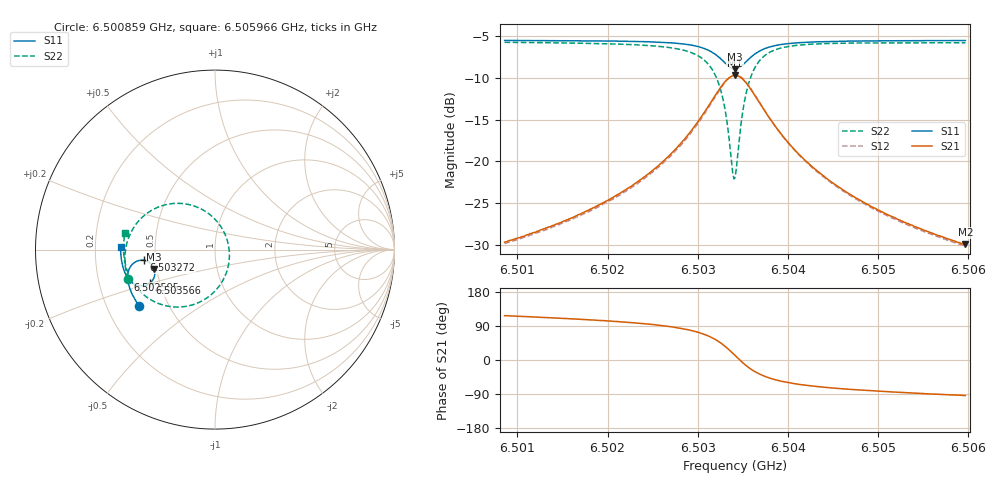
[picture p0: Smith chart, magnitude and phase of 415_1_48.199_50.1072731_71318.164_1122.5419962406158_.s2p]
#  HZ  S  RI  R  50.00
! Rohde & Schwarz Vector Network Analyzer
! Rohde-Schwarz,ZNB20-2Port,1311601062101988,3.16
! Created: UTC 3/20/2024, 11:54:41 AM
! freq[Hz]  re:S11  im:S11  re:S21  im:S21  re:S12  im:S12  re:S22  im:S22
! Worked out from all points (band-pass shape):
!   401 points, 6.500859 GHz to 6.505966 GHz, reference 50 ohm
!   highest |S21| = -9.74 dB at 6.503412 GHz (marker M1); lowest = -29.9 dB at 6.505966 GHz (marker M2)
!   |S21| within 3 dB of the highest: 6.503157 GHz to 6.503668 GHz (511 kHz wide, 0.00786 % of centre)
!   lowest |S11| = -9.0 dB at 6.503412 GHz (marker M3), VSWR 2.10, Z = 24.2 - j6.02 ohm
!   |S11| at or under -10 dB: nowhere
!   |S22| runs from -22.1 to -5.8 dB; largest |S21 - S12| = 0.011
!   S11 on the Smith chart (normalised r, x): 6.500859 GHz: 0.34, -0.30; 6.502595 GHz: 0.33, -0.15; 6.503272 GHz: 0.43, -0.06; 6.503566 GHz: 0.44, -0.20; 6.505966 GHz: 0.31, +0.01
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6.5008588e9  -0.422 -0.3149  -0.015 0.0294  -0.0133 0.0295  -0.4869 -0.163
6.5017142e9  -0.4594 -0.2525  -0.0146 0.0469  -0.0122 0.0465  -0.5015 -0.0736
6.5021739e9  -0.4761 -0.2123  -0.0118 0.0653  -0.00888 0.0644  -0.4996 -0.00959
6.5025697e9  -0.4858 -0.1694  -0.00296 0.0951  0.000613 0.0928  -0.4808 0.0675
6.5025952e9  -0.4862 -0.166  -0.00203 0.0979  0.00165 0.0954  -0.4785 0.0738
6.5028378e9  -0.485 -0.1305  0.0175 0.1317  0.0213 0.128  -0.4382 0.1442
6.5030166e9  -0.4723 -0.0968  0.0543 0.1686  0.0572 0.163  -0.366 0.211
6.5031698e9  -0.4392 -0.0663  0.1277 0.199  0.1288 0.1926  -0.2316 0.257
6.5032719e9  -0.3966 -0.0593  0.2126 0.1904  0.2128 0.1852  -0.0837 0.2297
6.503323e9  -0.3712 -0.0679  0.2608 0.1627  0.2616 0.1583  -0.00373 0.1729
6.5033868e9  -0.3446 -0.0941  0.3084 0.0999  0.311 0.0951  0.0684 0.0518
6.5034124e9  -0.3381 -0.1084  0.3188 0.0681  0.322 0.0623  0.0796 -0.00747
6.5034379e9  -0.335 -0.124  0.3227 0.0345  0.326 0.0279  0.0781 -0.0682
6.5035017e9  -0.3419 -0.1609  0.3052 -0.0428  0.3071 -0.0524  0.0239 -0.2026
6.5035656e9  -0.3627 -0.1866  0.2629 -0.0966  0.2618 -0.1078  -0.0714 -0.2852
6.5036677e9  -0.4019 -0.202  0.1888 -0.1331  0.1838 -0.1424  -0.22 -0.3199
6.5038337e9  -0.4478 -0.1925  0.1079 -0.1304  0.101 -0.1353  -0.3662 -0.2743
6.5040125e9  -0.4752 -0.1711  0.0638 -0.1105  0.0576 -0.1128  -0.4379 -0.2102
6.5042678e9  -0.4959 -0.1412  0.0338 -0.0866  0.0292 -0.0872  -0.4811 -0.1383
6.5046636e9  -0.512 -0.1003  0.0145 -0.0631  0.0114 -0.0628  -0.5039 -0.0619
6.5051233e9  -0.521 -0.0581  0.00499 -0.0474  0.00276 -0.0467  -0.5098 0.00184
6.505966e9  -0.5259 0.013  -0.00207 -0.0319  -0.00333 -0.0311  -0.5018 0.0901
